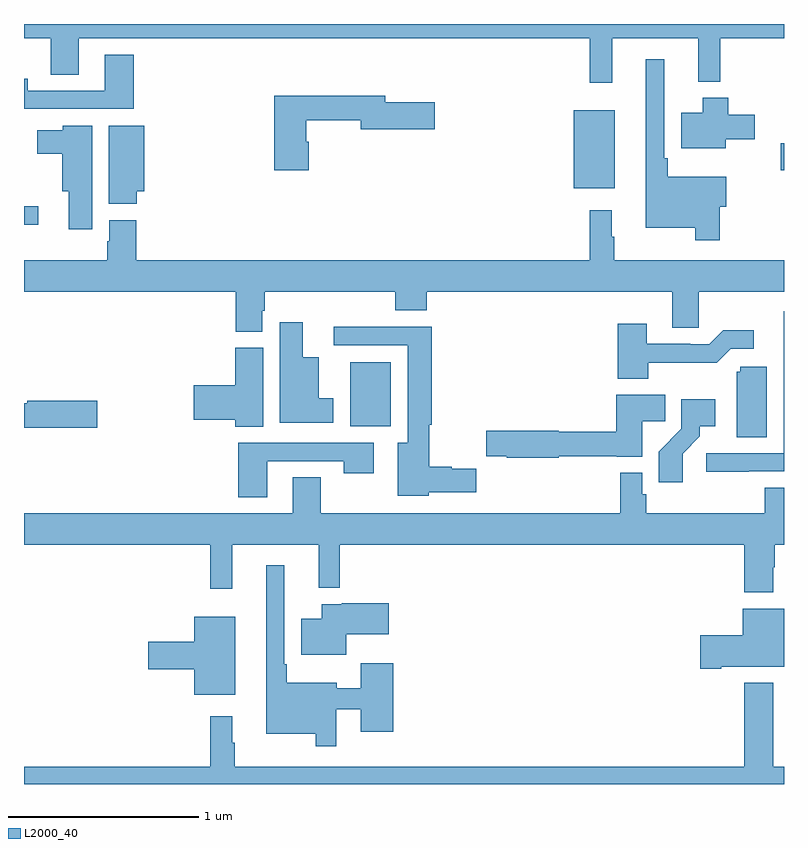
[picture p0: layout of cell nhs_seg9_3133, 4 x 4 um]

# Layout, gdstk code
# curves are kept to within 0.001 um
import gdstk
lib = gdstk.Library(unit=1e-6, precision=1e-09)
def R(c, l, rs):  # rectangles x0, y0, x1, y1
    for r in rs: c.add(gdstk.rectangle(r[:2], r[2:], *l))
def P(c, l, *ps):  # polygons
    for p in ps: c.add(gdstk.Polygon(p, *l))
L2000_40 = (2000, 40)

nhs_seg9_3133 = lib.new_cell('nhs_seg9_3133')
R(nhs_seg9_3133, L2000_40, [(292.718,1190.384,292.93,1190.719), (291,1191.443,291.076,1191.54), (293.894,1191.635,294.109,1192.045), (294.984,1191.73,295,1191.872)])
P(nhs_seg9_3133, L2000_40, [(291,1192.424),(291.142,1192.424),(291.142,1192.234),(291.289,1192.234),(291.289,1192.424),(293.977,1192.424),(293.977,1192.191),(294.095,1192.191),(294.095,1192.424),(294.548,1192.424),(294.548,1192.196),(294.665,1192.196),(294.665,1192.424),(295,1192.424),(295,1192.5),(291,1192.5)],
  [(291.578,1192.339),(291.425,1192.339),(291.425,1192.149),(291.021,1192.149),(291.021,1192.213),(291,1192.213),(291,1192.053),(291.578,1192.053)],
  [(294.662,1191.539),(294.697,1191.539),(294.697,1191.697),(294.389,1191.697),(294.389,1191.793),(294.369,1191.793),(294.369,1192.315),(294.272,1192.315),(294.272,1191.428),(294.534,1191.428),(294.534,1191.363),(294.662,1191.363)],
  [(292.499,1191.879),(292.486,1191.879),(292.486,1191.994),(292.772,1191.994),(292.772,1191.947),(293.161,1191.947),(293.161,1192.089),(292.9,1192.089),(292.9,1192.123),(292.316,1192.123),(292.316,1191.729),(292.499,1191.729)],
  [(294.694,1191.893),(294.847,1191.893),(294.847,1192.023),(294.707,1192.023),(294.707,1192.111),(294.572,1192.111),(294.572,1192.033),(294.458,1192.033),(294.458,1191.845),(294.694,1191.845)],
  [(291.593,1191.62),(291.634,1191.62),(291.634,1191.964),(291.446,1191.964),(291.446,1191.553),(291.593,1191.553)],
  [(291.358,1191.964),(291.204,1191.964),(291.204,1191.94),(291.071,1191.94),(291.071,1191.818),(291.2,1191.818),(291.2,1191.62),(291.236,1191.62),(291.236,1191.42),(291.358,1191.42)],
  [(292.255,1190.991),(292.268,1190.991),(292.268,1191.092),(292.955,1191.092),(292.955,1190.993),(293.12,1190.993),(293.12,1191.092),(294.413,1191.092),(294.413,1190.902),(294.552,1190.902),(294.552,1191.092),(295,1191.092),(295,1191.256),(294.106,1191.256),(294.106,1191.38),(294.094,1191.38),(294.094,1191.52),(293.977,1191.52),(293.977,1191.256),(291.59,1191.256),(291.59,1191.468),(291.449,1191.468),(291.449,1191.357),(291.437,1191.357),(291.437,1191.256),(291,1191.256),(291,1191.092),(292.115,1191.092),(292.115,1190.881),(292.255,1190.881)],
  [(294.815,1190.145),(295,1190.145),(295,1190.989),(294.998,1190.989),(294.998,1190.766),(294.999,1190.766),(294.999,1190.241),(294.591,1190.241),(294.591,1190.143),(294.815,1190.143)],
  [(292.627,1190.53),(292.552,1190.53),(292.552,1190.746),(292.468,1190.746),(292.468,1190.929),(292.346,1190.929),(292.346,1190.402),(292.627,1190.402)],
  [(294.285,1190.718),(294.647,1190.717),(294.72,1190.79),(294.841,1190.79),(294.841,1190.887),(294.679,1190.887),(294.606,1190.814),(294.506,1190.814),(294.506,1190.817),(294.277,1190.817),(294.277,1190.923),(294.125,1190.923),(294.125,1190.633),(294.285,1190.633)],
  [(293.13,1190.036),(293.38,1190.036),(293.38,1190.159),(293.25,1190.159),(293.25,1190.171),(293.134,1190.171),(293.134,1190.392),(293.147,1190.392),(293.147,1190.906),(292.629,1190.906),(292.629,1190.808),(293.021,1190.808),(293.021,1190.296),(292.967,1190.296),(292.967,1190.018),(293.13,1190.018)],
  [(292.258,1190.796),(292.112,1190.796),(292.112,1190.6),(291.894,1190.6),(291.894,1190.417),(292.112,1190.417),(292.112,1190.38),(292.258,1190.38)],
  [(294.91,1190.697),(294.771,1190.697),(294.771,1190.67),(294.752,1190.67),(294.752,1190.326),(294.91,1190.326)],
  [(293.814,1190.226),(294.12,1190.226),(294.12,1190.222),(294.253,1190.222),(294.253,1190.41),(294.374,1190.41),(294.374,1190.548),(294.116,1190.548),(294.116,1190.354),(293.814,1190.354),(293.814,1190.36),(293.432,1190.36),(293.432,1190.226),(293.542,1190.226),(293.542,1190.218),(293.814,1190.218)],
  [(294.466,1190.239),(294.556,1190.329),(294.556,1190.384),(294.637,1190.384),(294.637,1190.524),(294.459,1190.524),(294.459,1190.369),(294.34,1190.25),(294.34,1190.088),(294.466,1190.088)],
  [(291.385,1190.516),(291.016,1190.516),(291.016,1190.503),(291,1190.503),(291,1190.374),(291.385,1190.374)],
  [(292.279,1190.199),(292.684,1190.199),(292.684,1190.136),(292.84,1190.136),(292.84,1190.295),(292.127,1190.295),(292.127,1190.01),(292.279,1190.01)],
  [(291,1189.76),(291.979,1189.76),(291.979,1189.527),(292.097,1189.527),(292.097,1189.76),(292.55,1189.76),(292.55,1189.532),(292.662,1189.532),(292.662,1189.76),(294.791,1189.76),(294.791,1189.508),(294.943,1189.508),(294.943,1189.64),(294.951,1189.64),(294.951,1189.76),(295,1189.76),(295,1190.06),(294.899,1190.06),(294.899,1189.924),(294.275,1189.924),(294.275,1190.025),(294.255,1190.025),(294.255,1190.137),(294.139,1190.137),(294.139,1189.924),(292.563,1189.924),(292.563,1190.114),(292.415,1190.114),(292.415,1189.924),(291,1189.924)],
  [(292.644,1188.894),(292.772,1188.894),(292.772,1188.774),(292.943,1188.774),(292.943,1189.135),(292.772,1189.135),(292.772,1189.003),(292.645,1189.003),(292.645,1189.033),(292.384,1189.033),(292.384,1189.129),(292.371,1189.129),(292.371,1189.651),(292.274,1189.651),(292.274,1188.764),(292.536,1188.764),(292.536,1188.699),(292.644,1188.699)],
  [(292.696,1189.289),(292.921,1189.289),(292.921,1189.452),(292.672,1189.452),(292.672,1189.447),(292.568,1189.447),(292.568,1189.369),(292.46,1189.369),(292.46,1189.181),(292.696,1189.181)],
  [(294.67,1189.118),(295,1189.118),(295,1189.423),(294.782,1189.423),(294.782,1189.284),(294.558,1189.284),(294.558,1189.106),(294.67,1189.106)],
  [(292.111,1189.381),(291.896,1189.381),(291.896,1189.25),(291.654,1189.25),(291.654,1189.103),(291.896,1189.103),(291.896,1188.971),(292.111,1188.971)],
  [(295,1188.592),(294.943,1188.592),(294.943,1189.033),(294.791,1189.033),(294.791,1188.592),(292.108,1188.592),(292.108,1188.716),(292.096,1188.716),(292.096,1188.856),(291.979,1188.856),(291.979,1188.592),(291,1188.592),(291,1188.5),(295,1188.5)])

lib.write_gds('nhs_seg9_3133.gds')
